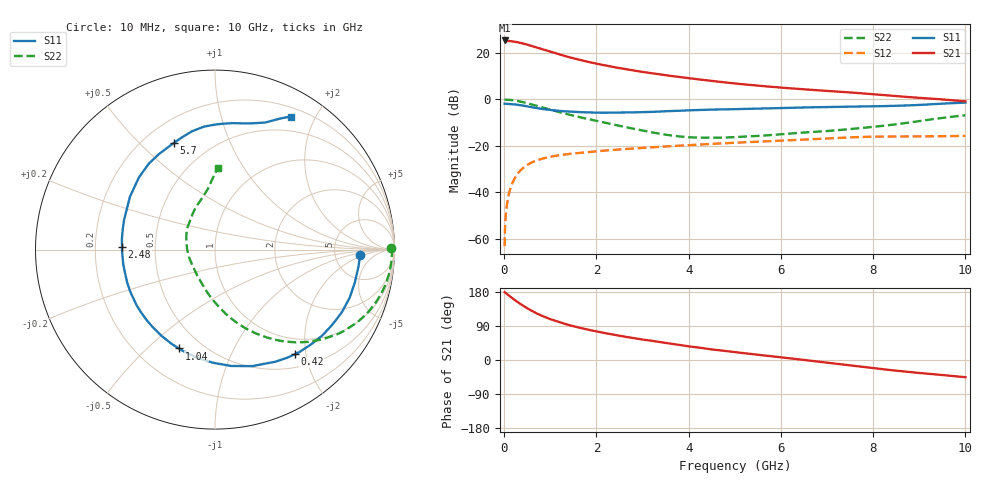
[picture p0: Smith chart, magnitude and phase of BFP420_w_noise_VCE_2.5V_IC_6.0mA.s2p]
! Infineon Technologies  Discrete & RF Semiconductors
! BFP420
! VCE =  2.5 V,  IC =  6.0 mA
! Common Emitter S-Parameters:  Jan 2016
# GHz  S  MA  R  50
!  f  S11  S21  S12  S22
! GHz  MAG  ANG  MAG  ANG  MAG  ANG  MAG  ANG
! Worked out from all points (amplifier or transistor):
!   233 points, 10 MHz to 10 GHz, reference 50 ohm
!   highest |S21| = 25.3 dB at 10 MHz (marker M1)
!   |S21| within 3 dB of that: start of sweep to 700.9 MHz
!   unconditionally stable (mu >= 1): 2.821 GHz to end of sweep
!   at 200 MHz: K = 0.09, MSG = 29.9 dB, |S12| = -35.0 dB
!   at 1.74 GHz: K = 0.67, MSG = 19.6 dB, |S12| = -22.8 dB
!   at 10 GHz: K = 1.11, MAG = 5.4 dB, |S12| = -15.7 dB
!   lowest NFmin = 0.70 dB at 900 MHz
!   S11 on the Smith chart (normalised r, x): 10 MHz: 9.06, -1.53; 420 MHz: 0.71, -1.79; 1.04 GHz: 0.38, -0.63; 2.48 GHz: 0.32, +0.01; 5.7 GHz: 0.32, +0.64; 10 GHz: 0.31, +1.68
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0.01  0.8063 -2.1  18.5 179.1  0.0007 88.0  0.9822 0.4
0.02  0.8084 -2.6  18.05 178.1  0.0019 86.1  0.9864 -1.5
0.065  0.8026 -8.6  18.05 173.6  0.0059 84.2  0.9835 -4.9
0.15  0.7967 -19.7  17.84 165.7  0.0136 79.8  0.9709 -11.4
0.22  0.7828 -28.5  17.42 159.3  0.0194 75.4  0.9506 -16.5
0.3  0.7658 -38.6  16.87 152.2  0.0258 70.9  0.9219 -22.2
0.42  0.7327 -52.8  15.8 142.6  0.0342 64.2  0.868 -29.8
0.5  0.7094 -61.7  15.04 136.5  0.039 60.4  0.8292 -34.6
0.6  0.6818 -72.2  14.06 129.5  0.0442 56.1  0.7797 -39.9
0.7  0.6546 -82.1  13.11 123.2  0.0487 52.4  0.7309 -44.7
0.9  0.6104 -99.4  11.35 112.4  0.0556 46.5  0.642 -52.9
1.04  0.5861 -110.1  10.29 106.2  0.0595 43.4  0.5873 -57.7
1.32  0.5539 -128.9  8.547 95.1  0.0657 38.6  0.4959 -66.2
1.68  0.5308 -148.6  6.928 83.9  0.0719 34.5  0.4063 -75.4
2.02  0.5189 -163.7  5.815 75.0  0.0771 31.6  0.342 -82.9
2.48  0.5185 178.3  4.75 64.5  0.0837 28.5  0.2726 -93.9
3.4  0.5503 150.8  3.421 46.9  0.096 23.2  0.181 -120.7
5.1  0.6189 119.1  2.152 19.4  0.1183 13.5  0.1558 177.3
5.7  0.6371 110.9  1.899 11.2  0.1256 10.0  0.1691 160.8
6.8  0.6804 97.5  1.571 -4.1  0.1417 2.9  0.2027 136.8
8.4  0.7235 76.3  1.2 -26.9  0.159 -11.9  0.2838 106.8
10  0.8536 60.3  0.908 -45.4  0.1642 -22.2  0.4563 88.1
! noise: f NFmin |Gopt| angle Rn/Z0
0.9  0.7  0.16  29  0.14
1.8  1.08  0.06  113  0.12
2.4  1.17  0.11  132  0.13
3  1.26  0.17  176  0.11
4  1.43  0.31  -139  0.13
5  1.82  0.38  -115  0.24
6  2.3  0.43  -99  0.37
